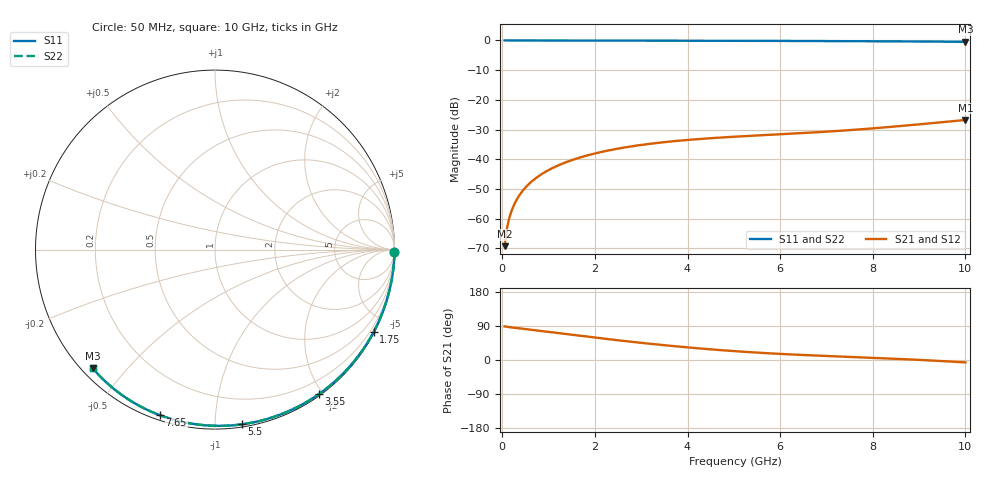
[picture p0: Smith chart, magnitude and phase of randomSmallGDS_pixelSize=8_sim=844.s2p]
! freq	dB(S11)	phase(S11)	dB(S12)	phase(S12)
!  dB(S21)	phase(S21)	dB(S22)	phase(S22)
!S-par simulation data
#  GHz  S  DB  R 50
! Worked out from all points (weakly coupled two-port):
!   200 points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, 50 MHz to 10 GHz, reference 50 ohm
!   highest |S21| = -26.79 dB at 10 GHz (marker M1); lowest = -69.3 dB at 50 MHz (marker M2)
!   lowest |S11| = -0.5 dB at 10 GHz (marker M3), VSWR 38.45, Z = 1.51 - j20.3 ohm
!   |S11| at or under -10 dB: nowhere
!   |S22| runs from -0.5 to 0.0 dB; largest |S21 - S12| = 0
!   S11 on the Smith chart (normalised r, x): 50 MHz: open; 1.75 GHz: 0.04, -4.09; 3.55 GHz: 0.02, -1.95; 5.5 GHz: 0.02, -1.17; 7.65 GHz: 0.02, -0.72; 10 GHz: 0.03, -0.41
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0.05  -0.00 -0.8  -69.29 88.7  -69.29 88.7  -0.00 -0.8
0.1  -0.00 -1.6  -63.32 87.6  -63.32 87.6  -0.00 -1.6
0.15  -0.00 -2.4  -59.85 86.7  -59.85 86.7  -0.00 -2.4
0.2  -0.00 -3.2  -57.39 86.0  -57.39 86.0  -0.00 -3.2
0.25  -0.00 -4.0  -55.48 85.2  -55.48 85.2  -0.00 -4.0
0.35  -0.00 -5.6  -52.60 83.8  -52.60 83.8  -0.00 -5.6
0.5  -0.01 -8.0  -49.55 81.6  -49.55 81.6  -0.01 -8.0
0.7  -0.01 -11.1  -46.67 78.6  -46.67 78.6  -0.01 -11.1
1  -0.02 -15.8  -43.65 74.0  -43.65 74.0  -0.02 -15.8
1.35  -0.03 -21.3  -41.17 68.7  -41.17 68.7  -0.03 -21.3
1.75  -0.04 -27.5  -39.09 62.7  -39.09 62.7  -0.04 -27.5
2.5  -0.05 -38.9  -36.42 52.0  -36.42 52.0  -0.05 -38.9
3.4  -0.07 -52.2  -34.42 40.2  -34.42 40.2  -0.07 -52.2
3.55  -0.07 -54.4  -34.16 38.4  -34.16 38.4  -0.07 -54.3
4.3  -0.09 -65.0  -33.14 30.1  -33.14 30.1  -0.09 -65.0
5.05  -0.12 -75.3  -32.39 23.1  -32.39 23.1  -0.12 -75.3
5.5  -0.13 -81.3  -32.00 19.5  -32.00 19.5  -0.13 -81.3
6.7  -0.19 -96.7  -31.01 12.1  -31.01 12.1  -0.19 -96.7
7.65  -0.24 -108.3  -30.03 7.6  -30.03 7.6  -0.24 -108.3
8.35  -0.29 -116.7  -29.16 4.1  -29.16 4.1  -0.29 -116.7
9.2  -0.37 -126.6  -27.97 -0.9  -27.97 -0.9  -0.37 -126.6
10  -0.45 -135.9  -26.79 -6.4  -26.79 -6.4  -0.45 -135.8
